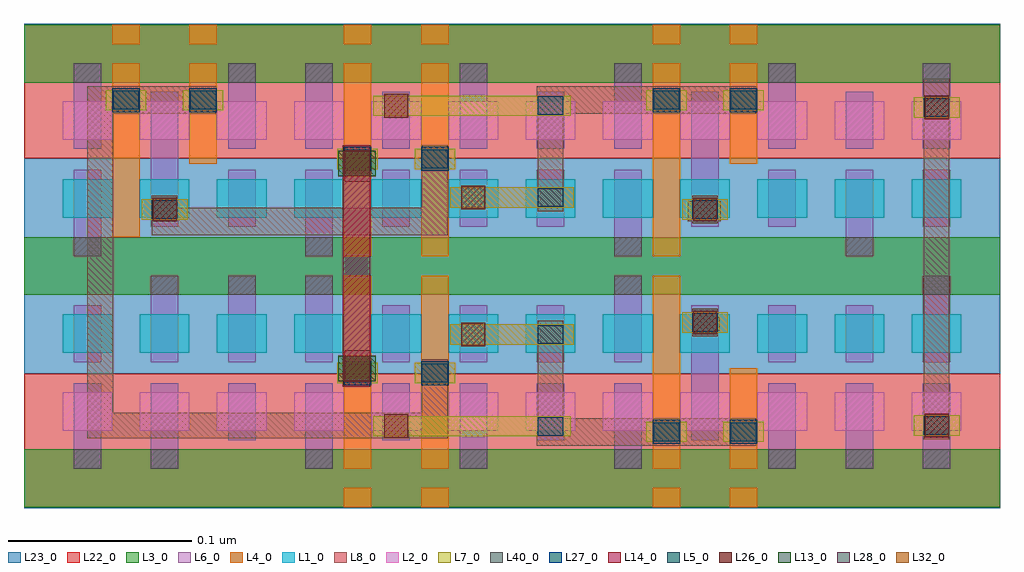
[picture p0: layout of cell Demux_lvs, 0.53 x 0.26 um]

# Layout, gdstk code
from math import pi, radians
import gdstk
lib = gdstk.Library(unit=1e-6, precision=2.5e-10)
def R(c, l, rs):  # rectangles x0, y0, x1, y1
    for r in rs: c.add(gdstk.rectangle(r[:2], r[2:], *l))
def A(c, l, x, y, w, h, nx, ny, dx, dy):  # array of equal rectangles
    R(c, l, [(x+i*dx, y+j*dy, x+i*dx+w, y+j*dy+h) for i in range(nx) for j in range(ny)])
def P(c, l, *ps):  # polygons
    for p in ps: c.add(gdstk.Polygon(p, *l))
L1_0 = (1, 0)
L2_0 = (2, 0)
L3_0 = (3, 0)
L4_0 = (4, 0)
L5_0 = (5, 0)
L6_0 = (6, 0)
L7_0 = (7, 0)
L8_0 = (8, 0)
L13_0 = (13, 0)
L14_0 = (14, 0)
L22_0 = (22, 0)
L23_0 = (23, 0)
L26_0 = (26, 0)
L27_0 = (27, 0)
L28_0 = (28, 0)
L32_0 = (32, 0)
L40_0 = (40, 0)

sram_filler = lib.new_cell('sram_filler')
R(sram_filler, L1_0, [(0.022,0.042,0.049,0.063), (0.064,0.042,0.091,0.063)])
R(sram_filler, L2_0, [(0.022,0.0845,0.049,0.1055), (0.064,0.0845,0.091,0.1055)])
R(sram_filler, L3_0, [(0.001,0,0.112,0.0315), (0.001,0.1155,0.112,0.147)])
R(sram_filler, L6_0, [(0.028,0.021,0.043,0.068), (0.07,0.037,0.085,0.068), (0.028,0.0795,0.043,0.1105), (0.07,0.0795,0.085,0.126)])
R(sram_filler, L22_0, [(0.001,0.0745,0.112,0.147)])
R(sram_filler, L23_0, [(0.001,0,0.112,0.0745), (0.001,0.147,0.112,0.1475)])
R(sram_filler, L40_0, [(0.028,0.021,0.043,0.0315), (0.07,0.1155,0.085,0.126)])

inv = lib.new_cell('inv')
A(inv, L1_0, 0.021, 0.042, 0.027, 0.021, 3, 1, 0.042, 0)
A(inv, L2_0, 0.021, 0.0845, 0.027, 0.021, 3, 1, 0.042, 0)
R(inv, L3_0, [(0,0,0.153,0.0315), (0,0.1155,0.153,0.147)])
R(inv, L4_0, [(0.048,0.0315,0.063,0.126), (0.09,0.0715,0.105,0.126), (0.048,0.1365,0.063,0.147), (0.09,0.1365,0.105,0.147)])
R(inv, L5_0, [(0.048,0.0995,0.063,0.1125), (0.09,0.0995,0.105,0.1125)])
R(inv, L6_0, [(0.027,0.021,0.042,0.068), (0.069,0.037,0.084,0.1105), (0.111,0.037,0.126,0.068), (0.027,0.0795,0.042,0.126), (0.111,0.0795,0.126,0.126)])
R(inv, L7_0, [(0.064,0.041,0.089,0.052), (0.0445,0.1005,0.0665,0.1115), (0.0865,0.1005,0.1085,0.1115)])
R(inv, L8_0, [(0.0695,0.039,0.0835,0.054), (0.0485,0.0985,0.1045,0.1135)])
R(inv, L22_0, [(0,0.0745,0.153,0.147)])
R(inv, L23_0, [(0,0,0.153,0.0745), (0,0.147,0.153,0.1475)])
R(inv, L26_0, [(0.07,0.04,0.083,0.053)])
R(inv, L27_0, [(0.0695,0.0415,0.0835,0.0515), (0.0485,0.101,0.0625,0.111), (0.0905,0.101,0.1045,0.111)])
R(inv, L40_0, [(0.027,0.021,0.042,0.0315), (0.027,0.1155,0.042,0.126), (0.111,0.1155,0.126,0.126)])

nand = lib.new_cell('nand')
A(nand, L1_0, 0.1255, 0.099, 0.027, 0.021, 4, 1, 0.042, 0)
A(nand, L2_0, 0.1255, 0.1415, 0.027, 0.021, 4, 1, 0.042, 0)
R(nand, L3_0, [(0.1045,0.057,0.2995,0.0885), (0.1045,0.1725,0.2995,0.204)])
R(nand, L4_0, [(0.1525,0.057,0.1675,0.0675), (0.1945,0.057,0.2095,0.0675), (0.1525,0.078,0.1675,0.183), (0.1945,0.078,0.2095,0.183), (0.1525,0.1935,0.1675,0.204), (0.1945,0.1935,0.2095,0.204)])
R(nand, L5_0, [(0.1525,0.1245,0.1675,0.1375), (0.1945,0.1245,0.2095,0.1375)])
A(nand, L6_0, 0.1735, 0.094, 0.015, 0.031, 3, 1, 0.042, 0)
R(nand, L6_0, [(0.1315,0.078,0.1465,0.125), (0.1315,0.1365,0.1465,0.183), (0.1735,0.1365,0.1885,0.1675), (0.2155,0.1365,0.2305,0.183), (0.2575,0.1365,0.2725,0.1675)])
R(nand, L7_0, [(0.2105,0.1045,0.2775,0.1155), (0.149,0.1255,0.171,0.1365), (0.191,0.1255,0.213,0.1365), (0.1685,0.1545,0.276,0.1655)])
R(nand, L8_0, [(0.258,0.1025,0.272,0.1675), (0.153,0.1235,0.167,0.1385), (0.195,0.1235,0.209,0.1385)])
R(nand, L22_0, [(0.1045,0.1315,0.2995,0.204)])
R(nand, L23_0, [(0.1045,0.057,0.2995,0.1315), (0.1045,0.204,0.2995,0.2045)])
R(nand, L26_0, [(0.2165,0.1035,0.2295,0.1165), (0.1745,0.1535,0.1875,0.1665)])
R(nand, L27_0, [(0.258,0.105,0.272,0.115), (0.153,0.126,0.167,0.136), (0.195,0.126,0.209,0.136), (0.258,0.155,0.272,0.165)])
R(nand, L40_0, [(0.1315,0.078,0.1465,0.0885), (0.1315,0.1725,0.1465,0.183), (0.2155,0.1725,0.2305,0.183)])

demux_lvs = lib.new_cell('Demux_lvs')
A(demux_lvs, L1_0, 0.147, 0.084, 0.027, 0.021, 3, 2, 0.042, 0.0735)
R(demux_lvs, L1_0, [(0.315,0.084,0.342,0.105), (0.357,0.084,0.384,0.105), (0.021,0.1575,0.048,0.1785), (0.063,0.1575,0.09,0.1785), (0.315,0.1575,0.342,0.1785), (0.357,0.1575,0.384,0.1785)])
A(demux_lvs, L2_0, 0.315, 0.0415, 0.027, 0.021, 3, 2, 0.042, 0.1585)
A(demux_lvs, L2_0, 0.021, 0.2, 0.027, 0.021, 3, 1, 0.042, 0)
R(demux_lvs, L3_0, [(0.4755,0,0.5175,0.0315), (0.426,0.1155,0.447,0.147), (0,0.231,0.021,0.2625)])
R(demux_lvs, L4_0, [(0.174,0.021,0.189,0.126), (0.216,0.021,0.231,0.126), (0.342,0.021,0.357,0.126), (0.384,0.021,0.399,0.0755), (0.174,0.1365,0.189,0.2415), (0.216,0.1365,0.231,0.2415), (0.342,0.1365,0.357,0.2415), (0.048,0.147,0.063,0.2415), (0.09,0.187,0.105,0.2415), (0.384,0.187,0.399,0.2415)])
R(demux_lvs, L6_0, [(0.489,0.021,0.504,0.05), (0.489,0.212,0.504,0.223)])
R(demux_lvs, L7_0, [(0.484,0.039,0.509,0.05), (0.484,0.212,0.509,0.223)])
R(demux_lvs, L8_0, [(0.279,0.0335,0.3425,0.0485), (0.4895,0.037,0.5035,0.233), (0.1745,0.0655,0.1885,0.0855), (0.3685,0.096,0.3785,0.1035), (0.361,0.1555,0.379,0.1665), (0.1745,0.177,0.1885,0.197), (0.279,0.214,0.3425,0.229)])
P(demux_lvs, L8_0, [(0.2305,0.197),(0.2305,0.148),(0.0695,0.148),(0.0695,0.163),(0.2165,0.163),(0.2165,0.197)],
  [(0.0485,0.229),(0.0485,0.0515),(0.2165,0.0515),(0.2165,0.0805),(0.2305,0.0805),(0.2305,0.0375),(0.0345,0.0375),(0.0345,0.229)])
R(demux_lvs, L13_0, [(0.171,0.0685,0.1915,0.0825), (0.171,0.18,0.1915,0.194)])
R(demux_lvs, L14_0, [(0.1735,0.0655,0.1885,0.197)])
R(demux_lvs, L26_0, [(0.49,0.038,0.503,0.051), (0.49,0.211,0.503,0.224)])
R(demux_lvs, L27_0, [(0.4895,0.0395,0.5035,0.0495), (0.4895,0.2125,0.5035,0.2225)])
R(demux_lvs, L28_0, [(0.1745,0.0685,0.1885,0.0825), (0.1745,0.18,0.1885,0.194)])
R(demux_lvs, L32_0, [(0.174,0.0685,0.188,0.0825), (0.174,0.18,0.188,0.194)])
R(demux_lvs, L40_0, [(0.489,0.021,0.504,0.0315)])
demux_lvs.add(gdstk.Reference(sram_filler, (0.154,0.147), rotation=pi))
demux_lvs.add(gdstk.Reference(sram_filler, (0.112,0.147), rotation=pi))
demux_lvs.add(gdstk.Reference(sram_filler, (0.419,0.1155)))
demux_lvs.add(gdstk.Reference(sram_filler, (0.532,0.147), rotation=pi))
demux_lvs.add(gdstk.Reference(inv, (0,0.1155)))
demux_lvs.add(gdstk.Reference(inv, (0.294,0.1155)))
demux_lvs.add(gdstk.Reference(inv, (0.294,0.147), x_reflection=True))
demux_lvs.add(gdstk.Reference(nand, (0.0215,0.0585)))
demux_lvs.add(gdstk.Reference(nand, (0.0215,0.204), x_reflection=True))

lib.write_gds('Demux_lvs.gds')
